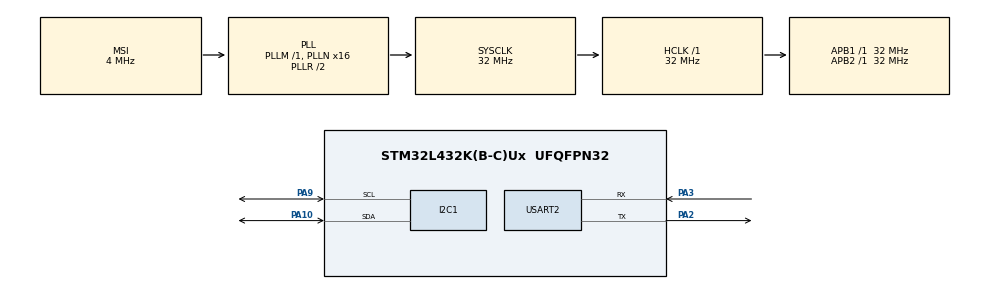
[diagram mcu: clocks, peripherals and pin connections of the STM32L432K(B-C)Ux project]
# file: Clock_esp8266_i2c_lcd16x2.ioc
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Dma.Request0=USART2_RX
Dma.USART2_RX.0.Direction=DMA_PERIPH_TO_MEMORY
Dma.USART2_RX.0.Instance=DMA1_Channel6
Dma.USART2_RX.0.MemDataAlignment=DMA_MDATAALIGN_BYTE
Dma.USART2_RX.0.MemInc=DMA_MINC_ENABLE
Dma.USART2_RX.0.Mode=DMA_NORMAL
Dma.USART2_RX.0.PeriphDataAlignment=DMA_PDATAALIGN_BYTE
Dma.USART2_RX.0.PeriphInc=DMA_PINC_DISABLE
Dma.USART2_RX.0.Priority=DMA_PRIORITY_LOW
Mcu.Family=STM32L4
Mcu.Name=STM32L432K(B-C)Ux
Mcu.Package=UFQFPN32
NVIC.DMA1_Channel6_IRQn=true\:0\:0\:false\:false\:true\:false
NVIC.PriorityGroup=NVIC_PRIORITYGROUP_4
PA10.Mode=I2C
PA10.Signal=I2C1_SDA
PA13\ (JTMS-SWDIO).Mode=Serial_Wire
PA13\ (JTMS-SWDIO).Signal=SYS_JTMS-SWDIO
PA14\ (JTCK-SWCLK).Mode=Serial_Wire
PA14\ (JTCK-SWCLK).Signal=SYS_JTCK-SWCLK
PA2.Mode=Asynchronous
PA2.Signal=USART2_TX
PA3.Mode=Asynchronous
PA3.Signal=USART2_RX
PA9.Mode=I2C
PA9.Signal=I2C1_SCL
ProjectManager.HeapSize=0x200
ProjectManager.StackSize=0x400
ProjectManager.TargetToolchain=SW4STM32
RCC.AHBFreq_Value=32000000
RCC.APB1Freq_Value=32000000
RCC.APB1TimFreq_Value=32000000
RCC.APB2Freq_Value=32000000
RCC.APB2TimFreq_Value=32000000
RCC.CortexFreq_Value=32000000
RCC.HCLKFreq_Value=32000000
RCC.HSE_VALUE=8000000
RCC.HSI16_VALUE=16000000
RCC.HSI48_VALUE=48000000
RCC.HSI_VALUE=16000000
RCC.LSE_VALUE=32.768
RCC.MSI_VALUE=4000000
RCC.PLLMUL=RCC_PLLMUL_4
RCC.PLLN=16
RCC.SYSCLKFreq_VALUE=32000000
RCC.SYSCLKSource=RCC_SYSCLKSOURCE_PLLCLK
RCC.VCOOutputFreq_Value=64000000
USART2.VirtualMode-Asynchronous=VM_ASYNC
VP_RTC_VS_RTC_Activate.Mode=RTC_Enabled
VP_RTC_VS_RTC_Calendar.Mode=RTC_Calendar
board=NUCLEO-L432KC

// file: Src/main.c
/**
  ******************************************************************************
  * @file           : main.c
  * @brief          : Main program body
  ******************************************************************************
  ** This notice applies to any and all portions of this file
  * that are not between comment pairs USER CODE BEGIN and
  * USER CODE END. Other portions of this file, whether
  * inserted by the user or by software development tools
  * are owned by their respective copyright owners.
  *
  * COPYRIGHT(c) 2020 STMicroelectronics
  *
  * Redistribution and use in source and binary forms, with or without modification,
  * are permitted provided that the following conditions are met:
  *   1. Redistributions of source code must retain the above copyright notice,
  *      this list of conditions and the following disclaimer.
  *   2. Redistributions in binary form must reproduce the above copyright notice,
  *      this list of conditions and the following disclaimer in the documentation
  *      and/or other materials provided with the distribution.
  *   3. Neither the name of STMicroelectronics nor the names of its contributors
  *      may be used to endorse or promote products derived from this software
  *      without specific prior written permission.
  *
  * THIS SOFTWARE IS PROVIDED BY THE COPYRIGHT HOLDERS AND CONTRIBUTORS "AS IS"
  * AND ANY EXPRESS OR IMPLIED WARRANTIES, INCLUDING, BUT NOT LIMITED TO, THE
  * IMPLIED WARRANTIES OF MERCHANTABILITY AND FITNESS FOR A PARTICULAR PURPOSE ARE
  * DISCLAIMED. IN NO EVENT SHALL THE COPYRIGHT HOLDER OR CONTRIBUTORS BE LIABLE
  * FOR ANY DIRECT, INDIRECT, INCIDENTAL, SPECIAL, EXEMPLARY, OR CONSEQUENTIAL
  * DAMAGES (INCLUDING, BUT NOT LIMITED TO, PROCUREMENT OF SUBSTITUTE GOODS OR
  * SERVICES; LOSS OF USE, DATA, OR PROFITS; OR BUSINESS INTERRUPTION) HOWEVER
  * CAUSED AND ON ANY THEORY OF LIABILITY, WHETHER IN CONTRACT, STRICT LIABILITY,
  * OR TORT (INCLUDING NEGLIGENCE OR OTHERWISE) ARISING IN ANY WAY OUT OF THE USE
  * OF THIS SOFTWARE, EVEN IF ADVISED OF THE POSSIBILITY OF SUCH DAMAGE.
  *
  ******************************************************************************
  */
#include "main.h"
#include "stm32l4xx_hal.h"

/* USER CODE BEGIN Includes */

#include "I2C_lcd16x2.h"
#include "ESP8266_usart_commands.h"
#include <string.h>
#include <math.h>
/* USER CODE END Includes */

I2C_HandleTypeDef hi2c1;

RTC_HandleTypeDef hrtc;

UART_HandleTypeDef huart2;
DMA_HandleTypeDef hdma_usart2_rx;

/* USER CODE BEGIN PV */
/* Private variables ---------------------------------------------------------*/

/* USER CODE END PV */

void SystemClock_Config(void);
static void MX_GPIO_Init(void);
static void MX_DMA_Init(void);
static void MX_I2C1_Init(void);
static void MX_RTC_Init();
static void MX_USART2_UART_Init(void);

/* USER CODE BEGIN PFP */
/* Private function prototypes -----------------------------------------------*/
uint32_t funcao_anos(uint32_t *delta, RTC_TimeTypeDef *horario1, RTC_DateTypeDef *data1);
uint32_t funcao_anos_aux1(RTC_TimeTypeDef *horario, RTC_DateTypeDef *data);
uint32_t funcao_segundos_desde_1jan_agora(RTC_TimeTypeDef *horario, RTC_DateTypeDef *data);
uint32_t funcao_segundos_desde_1jan_fixo(RTC_DateTypeDef *data);
uint32_t funcao_meses(uint32_t *delta, RTC_TimeTypeDef *horario1, RTC_DateTypeDef *data1);
uint32_t funcao_meses_aux(RTC_TimeTypeDef *horario, RTC_DateTypeDef *data);
uint32_t funcao_dias(uint32_t *delta, RTC_TimeTypeDef *horario1, RTC_DateTypeDef *data1);
uint32_t funcao_horas(uint32_t *delta, RTC_TimeTypeDef *horario1);
uint32_t funcao_minutos(uint32_t *delta, RTC_TimeTypeDef *horario1);
uint32_t funcao_segundos(uint32_t *delta, RTC_TimeTypeDef *horario1);

uint32_t diferenca_de_seculos(void);
uint32_t segundos_interno(RTC_TimeTypeDef *horario, RTC_DateTypeDef *data);
void luna_sync(uint32_t *segundos_brasil);
void clock_sync(uint8_t *resposta);

/* USER CODE END PFP */

/* USER CODE BEGIN 0 */

uint8_t  interrupcao=0, estados=0, flag0=0, flag1=0, flag2=0, flag3=0,
		flag4=0, flag5=0, flag6=0, flag7=0;

uint8_t resposta0[AT_RESPONSE_SIZE];
uint8_t resposta1[ATE_RESPONSE_SIZE];
uint8_t resposta2[ATCWMODE_CUR_RESPONSE_SIZE];
uint8_t resposta3[ATCWJAP_CUR_RESPONSE_SIZE];
uint8_t resposta31[ATCWJAP1_CUR_RESPONSE_SIZE];
uint8_t resposta4[ATCIPSTART_RESPONSE_SIZE];
uint8_t resposta5[ATCIPSEND_RESPONSE_SIZE];
uint8_t resposta6[NTPREQUEST_RESPONSE_SIZE];
uint8_t respostaclose[ATCIPCLOSE_RESPONSE_SIZE];

uint8_t horas, segundos, horario[8], data[8], semana[3], dia_da_semana, anos, meses, dia, fase_lua;
static uint8_t minutos;

uint32_t segundos_brasil, w=0, seculo=1, seculo2;
static uint32_t anos4digitos;

RTC_TimeTypeDef ghorario;
RTC_DateTypeDef gdata;

/* USER CODE END 0 */

int main(void)
{
  /* USER CODE BEGIN 1 */
	uint8_t flag_final1=0;
	uint32_t segundos_interno_aux;

  /* USER CODE END 1 */

  /* MCU Configuration----------------------------------------------------------*/

  /* Reset of all peripherals, Initializes the Flash interface and the Systick. */
  HAL_Init();

  /* Configure the system clock */
  SystemClock_Config();

  /* Initialize all configured peripherals */
  MX_GPIO_Init();
  MX_DMA_Init();
  MX_I2C1_Init();
  MX_USART2_UART_Init();

  /* USER CODE BEGIN 2 */
  LCD1602_i2c_Init();
  LCD1602_special_caracter_Init("ç", "ú", "á", "é", "í", "ã","õ","ô");
  LCD1602_print("Início");

  HAL_UART_MspInit(&huart2);

  HAL_UART_Receive_DMA(&huart2, resposta0, AT_RESPONSE_SIZE);

  /* USER CODE END 2 */

  /* Infinite loop */
  /* USER CODE BEGIN WHILE */

  /* O objetivo do código é sincronizar o relógio interno do microcontrolador (RTC-Real Time Clock) com o relogio da internet usando o protocolo
   * NTP-Network Time Protocol. Para isso utilizamos o microcontrolador stm32l432kc um modulo wi-fi esp8266 e uma tela de lcd16x2.
   * O codigo envia comandos AT via USART, para o esp8266, e aguarda uma resposta, se a resposta for a resposta esperada envia-se o próximo
   * comando. Dado um ultimo comando teremos uma ultima resposta dessa se extrai informações para o relógio.
   * Nunca deixe o relógio sem sincronizar por mais de um século pois as fases da lua estarão erradas*/

  while (1) // esse while representa um loop infinito
  {
	  if(interrupcao==0) //Quando não acontece uma interrupção ou se retorna de uma interrupção essa condição é acionada, entrar neste if representa o fluxo normal do código
	  {
		  if(estados==0) //Aqui se tem varias instruções if-else-if para enviar as instruçoes AT em ordem. A variavel estados é incrementada na interrupção.
		  {
			  LCD1602_clear();
			  LCD1602_print("Enviando 0");
			  if(flag0==0)
			  {
				  HAL_UART_Transmit(&huart2, AT, AT_COMMAND_SIZE, HAL_MAX_DELAY);
			  }
			  flag0=1;
			  HAL_Delay(1000);
			  if(strcmp(resposta0, ERRO_0)==0)/*Este if trata de um erro relacionado ao fato de que o comando ATE0 ja foi dado*/
			  {
				  HAL_UART_DMAStop(&huart2);

				  estados=2;//Pulamos para o estado 2
				  flag0=2;//Essa flag avisa que ocorreu um erro e prepara para a corrente de erros que esta por vir
				  HAL_Delay(1000);
				  interrupcao=0;
				  HAL_UART_Receive_DMA(&huart2, resposta2, ATCWMODE_CUR_RESPONSE_SIZE);
			  }
		  }
		  else if(estados==1)
		  {
			  LCD1602_clear();
			  LCD1602_print("Enviando 1");
			  if(flag1==0)
			  {
				  HAL_UART_Transmit(&huart2, ATE, ATE_COMMAND_SIZE, HAL_MAX_DELAY);
			  }
			  flag1=1;
			  HAL_Delay(1000);
		  }
		  else if(estados==2)
		  {
			  LCD1602_clear();
			  LCD1602_print("Enviando 2");
			  if(flag2==0)
			  {
				  HAL_UART_Transmit(&huart2, ATCWMODE_CUR, ATCWMODE_CUR_COMMAND_SIZE, HAL_MAX_DELAY);
			  }
			  flag2=1;
			  HAL_Delay(1000);
		  }
		  else if(estados==3)
		  {
			  LCD1602_clear();
			  LCD1602_print("Enviando 3");
			  if(flag3==0)
			  {
				  HAL_UART_Transmit(&huart2, ATCWJAP_CUR, ATCWJAP_CUR_COMMAND_SIZE, HAL_MAX_DELAY);
			  }
			  flag3=1;
			  HAL_Delay(1000);
		  }
		  else if(estados==4)
		  {
			  LCD1602_clear();
			  LCD1602_print("Enviando 4");
			  if(flag4==0)
			  {
				  HAL_UART_Transmit(&huart2, ATCIPSTART, ATCIPSTART_COMMAND_SIZE, HAL_MAX_DELAY);
			  }
			  flag4=1;
			  HAL_Delay(1000);
		  }
		  else if(estados==5)
		  {
			  LCD1602_clear();
			  LCD1602_print("Enviando 5");
			  if(flag5==0)
			  {
				  HAL_UART_Transmit(&huart2, ATCIPSEND, ATCIPSEND_COMMAND_SIZE, HAL_MAX_DELAY);
			  }
			  flag5=1;
			  HAL_Delay(1000);
		  }
		  else if(estados==6)
		  {
			  LCD1602_clear();
			  LCD1602_print("Enviando 6");
			  if(flag6==0)
			  {
				  HAL_UART_Transmit(&huart2, NTPREQUEST, NTPREQUEST_COMMAND_SIZE, HAL_MAX_DELAY);
			  }
			  flag6=1;
			  HAL_Delay(1000);
			  if(strcmp(resposta6,ERRO_6)==0) /*Dentro deste if tratamos um erro. O erro acontece quando o servidor
			  	  	  	  	  	  	  	  	   	não responde ao comando NTPREQUEST. Ao receber a resposta incompleta
			  	  	  	  	  	  	  	  	   	não é gerada uma interrupção*/
			  {
				  HAL_UART_DMAStop(&huart2); //Pausamos o DMA sem gerar uma interrupção

				  HAL_UART_Receive_DMA(&huart2, respostaclose, ATCIPCLOSE_RESPONSE_SIZE);//Nos preparamos para a resposta do encerramento da conexão

				  for(uint i=0;i<NTPREQUEST_RESPONSE_SIZE;i++)//Limpamos a resposta incompleta recebida
				  {
					  resposta6[i]=0;
				  }
				  HAL_UART_Transmit(&huart2, ATCIPCLOSE, ATCIPCLOSE_COMMAND_SIZE, HAL_MAX_DELAY); //Encerramos a conexão com o servidor
				  estados=4;//voltamos ao estado 4
				  flag4=0;
				  flag5=0;
				  flag6=0;
				  HAL_Delay(1000);
				  interrupcao=0;
				  HAL_UART_Receive_DMA(&huart2, resposta4, ATCIPSTART_RESPONSE_SIZE);
			  }
		  }
		  else if(estados==7)
		  {
			  LCD1602_clear();
			  LCD1602_print("Concluído");

			  if(flag7==0)
			  {
				  HAL_UART_Transmit(&huart2, ATCIPCLOSE, ATCIPCLOSE_COMMAND_SIZE, HAL_MAX_DELAY);
			  }
			  flag7=1;
			  HAL_Delay(1000);
			  interrupcao=2; //Esta condição passa para a proxima parte do programa e encerra a conexao e recebimento de dados
		  }
		  else //Se o programa tentar executar um estado invalido este erro será tratado aqui
		  {
		  	  LCD1602_clear();
		  	  LCD1602_print("Erro de estado");
		  	  HAL_Delay(1000);
		  }

	  }
	  else if (interrupcao==1) //Quando uma interrupção acontece, ou seja os dados estão disponíveis, a placa esp8266 respondeu, esta condição é executada para tratar os dados recebidos
	  {
		  if(estados==0) //Temos varios if-else-if para verificar qual comnando foi dado
		  {
			  if(strcmp(AT_RESPONSE, resposta0)==0) //essa condição verifica se a resposta dada está correta
			  {
				  estados++; // Se a ressposta está correta passa-se para o proximo comando
			  }
			  else //Se a resposta dada não estiver correta o erro será tratado aqui
			  {
				  LCD1602_clear();
				  LCD1602_print("Resposta não");
				  LCD1602_setCursor(2,1);
				  LCD1602_print("esperada 0");
				  while(1)
				  {

				  }
			  }
			  LCD1602_clear();
			  LCD1602_print("Recebimento");
			  LCD1602_setCursor(2,1);
			  LCD1602_print("completo 0");
			  HAL_Delay(1000);
			  interrupcao=0; //Retorna-se da interrupção
			  HAL_UART_Receive_DMA(&huart2, resposta1, ATE_RESPONSE_SIZE); //Prepara-se a usart para a recepção do próximo comando
		  }
		  else if(estados==1)
		  {
			  if(strcmp(ATE_RESPONSE, resposta1)==0)
			  {
				  estados++;
			  }
			  else
			  {
				  LCD1602_clear();
				  LCD1602_print("Resposta não");
				  LCD1602_setCursor(2,1);
				  LCD1602_print("esperada 1");
				  while(1)
				  {

				  }
			  }
			  LCD1602_clear();
			  LCD1602_print("Recebimento");
			  LCD1602_setCursor(2,1);
			  LCD1602_print("completo 1");
			  HAL_Delay(1000);
			  interrupcao=0;
			  HAL_UART_Receive_DMA(&huart2, resposta2, ATCWMODE_CUR_RESPONSE_SIZE);
		  }
		  else if(estados==2)
		  {
			  if(strcmp(ATCWMODE_CUR_RESPONSE, resposta2)==0)
			  {
				  estados++;
			  }
			  else
			  {
				  LCD1602_clear();
				  LCD1602_print("Resposta não");
				  LCD1602_setCursor(2,1);
				  LCD1602_print("esperada 2");
				  while(1)
				  {

				  }
			  }
			  LCD1602_clear();
			  LCD1602_print("Recebimento");
			  LCD1602_setCursor(2,1);
			  LCD1602_print("completo 2");
			  HAL_Delay(1000);
			  interrupcao=0;
			  if(flag0==2)
			  {
				  HAL_UART_Receive_DMA(&huart2, resposta31, ATCWJAP1_CUR_RESPONSE_SIZE);
			  }
			  else
			  {
				  HAL_UART_Receive_DMA(&huart2, resposta3, ATCWJAP_CUR_RESPONSE_SIZE);
			  }
		  }
		  else if(estados==3)
		  {
			  if(strcmp(ATCWJAP_CUR_RESPONSE, resposta3)==0 || strncmp(ATCWJAP1_CUR_RESPONSE, resposta31, ATCWJAP1_CUR_RESPONSE_SIZE)==0) //Erro strcmp(ATCWJAP1_CUR_RESPONSE, resposta31)!=0 deveria ser strcmp(ATCWJAP1_CUR_RESPONSE, resposta31)==0 substitui-se pela instrução strncmp(ATCWJAP1_CUR_RESPONSE, resposta31, ATCWJAP1_CUR_RESPONSE_SIZE)==0 pois a outra instrução nao localiza o caractere NULL \0
			  {
				  estados++;
			  }
			  else
			  {
				  LCD1602_clear();
				  LCD1602_print("Resposta não");
				  LCD1602_setCursor(2,1);
				  LCD1602_print("esperada 3");
				  while(1)
				  {

				  }
			  }
			  LCD1602_clear();
			  LCD1602_print("Recebimento");
			  LCD1602_setCursor(2,1);
			  LCD1602_print("completo 3");
			  HAL_Delay(1000);
			  interrupcao=0;
			  HAL_UART_Receive_DMA(&huart2, resposta4, ATCIPSTART_RESPONSE_SIZE);
		  }
		  else if(estados==4)
		  {
			  if(strcmp(ATCIPSTART_RESPONSE, resposta4)==0)
			  {
				  estados++;
			  }
			  else
			  {
				  LCD1602_clear();
				  LCD1602_print("Resposta não");
				  LCD1602_setCursor(2,1);
				  LCD1602_print("esperada 4");
				  while(1)
				  {

				  }
			  }
			  LCD1602_clear();
			  LCD1602_print("Recebimento");
			  LCD1602_setCursor(2,1);
			  LCD1602_print("completo 4");
			  HAL_Delay(1000);
			  interrupcao=0;
			  HAL_UART_Receive_DMA(&huart2, resposta5, ATCIPSEND_RESPONSE_SIZE);
		  }
		  else if(estados==5)
		  {
			  if(strncmp(ATCIPSEND_RESPONSE, resposta5,ATCIPSEND_RESPONSE_SIZE)==0) //Erro strcmp(ATCIPSEND_RESPONSE, resposta5)!=0 deveria ser strcmp(ATCIPSEND_RESPONSE, resposta5)==0 Substitui-se pela instrução strncmp(ATCIPSEND_RESPONSE, resposta5,ATCIPSEND_RESPONSE_SIZE) pois a outra instrução não localiza ocaractere NULL \0 no final das strings
			  {
				  estados++;
			  }
			  else
			  {
				  LCD1602_clear();
				  LCD1602_print("Resposta não");
				  LCD1602_setCursor(2,1);
				  LCD1602_print("esperada 5");
				  while(1)
				  {

				  }
			  }
			  LCD1602_clear();
			  LCD1602_print("Recebimento");
			  LCD1602_setCursor(2,1);
			  LCD1602_print("completo 5");
			  HAL_Delay(1000);
			  interrupcao=0;
			  HAL_UART_Receive_DMA(&huart2, resposta6, NTPREQUEST_RESPONSE_SIZE);
		  }
		  else if(estados==6)//O ultimo dado recebido contém as informações para o relógio e aquele será tratado aqui
		  {
			  clock_sync(resposta6);
			  interrupcao=0;
			  estados++;
			  HAL_UART_Receive_DMA(&huart2, respostaclose, ATCIPCLOSE_RESPONSE_SIZE);
		  }
	  }
	  else if(interrupcao==2)/*Essa secção do programa encerra o programa*/
	  {
		  while(w<=anos4digitos)
		  {
			  w=w+100;
			  seculo++;
		  }
		  seculo=seculo-1;
		  seculo2=seculo;
		  MX_RTC_Init();
		  interrupcao=3;
	  }
	  else if(interrupcao==3)
	  {
		  HAL_RTC_GetTime(&hrtc, &ghorario, RTC_FORMAT_BIN);
		  HAL_RTC_GetDate(&hrtc, &gdata, RTC_FORMAT_BIN);/* Os comandos HAL_RTC_GetTime e HAL_RTC_GetDate tem que serem dados nessa sequencia mesmo que só desejarmos as horas*/

		  sprintf(horario,"%02d:%02d:%02d",ghorario.Hours, ghorario.Minutes, ghorario.Seconds);
		  sprintf(data,"%02d/%02d/%02d", gdata.Date, gdata.Month, gdata.Year);
		  if(gdata.WeekDay==RTC_WEEKDAY_MONDAY)
		  {
			  sprintf(semana, "Seg");
		  }
		  else if(gdata.WeekDay==RTC_WEEKDAY_TUESDAY)
		  {
			  sprintf(semana, "Ter");
		  }
		  else if(gdata.WeekDay==RTC_WEEKDAY_WEDNESDAY)
		  {
			  sprintf(semana, "Qua");
		  }
		  else if(gdata.WeekDay==RTC_WEEKDAY_THURSDAY)
		  {
			  sprintf(semana, "Qui");
		  }
		  else if(gdata.WeekDay==RTC_WEEKDAY_FRIDAY)
		  {
			  sprintf(semana, "Sex");
		  }
		  else if(gdata.WeekDay==RTC_WEEKDAY_SATURDAY)
		  {
			  sprintf(semana, "Sáb");
		  }
		  else if(gdata.WeekDay==RTC_WEEKDAY_SUNDAY)
		  {
			  sprintf(semana, "Dom");
		  }
		  else
		  {
			  sprintf(semana, "Err");
		  }

		  /*Para sincronizar as fases da lua com o RTC*/
		  if(ghorario.Seconds>=0 && ghorario.Seconds<1)
		  {
			  seculo2=seculo+diferenca_de_seculos();
			  segundos_interno_aux=segundos_interno(&ghorario, &gdata);
			  luna_sync(&segundos_interno_aux);
		  }

		  if(flag_final1==0)
		  {
			  LCD1602_clear();
			  LCD1602_special_caracter_Init("L1", "L2", "L3", "L4", "á", "é", "í", "ó");
			  LCD1602_noCursor();
			  flag_final1=1;
		  }
		  LCD1602_print(horario);
		  LCD1602_setCursor(2,1);
		  LCD1602_print(data);
		  LCD1602_setCursor(2,10);
		  LCD1602_print(semana);
		  if(fase_lua==1)
		  {
			  LCD1602_setCursor(2,15);
			  LCD1602_print("L1");
			  LCD1602_setCursor(2,16);
			  LCD1602_print("L2");
		  }
		  else if(fase_lua==2)
		  {
			  LCD1602_setCursor(2,15);
			  LCD1602_print("L4");
			  LCD1602_setCursor(2,16);
			  LCD1602_print("L2");
		  }
		  else if(fase_lua==3)
		  {
			  LCD1602_setCursor(2,15);
			  LCD1602_print("L4");
			  LCD1602_setCursor(2,16);
			  LCD1602_print("L3");
		  }
		  else if(fase_lua==4)
		  {
			  LCD1602_setCursor(2,15);
			  LCD1602_print("L1");
			  LCD1602_setCursor(2,16);
			  LCD1602_print("L3");
		  }

		  LCD1602_setCursor(1,1); /*Ao invés de dar clear e escrever novamente, o que faria a tela piscar, apenas escrevemos por cima, por isso voltamos o cursor para a posição 1,1*/
	  }
	  else
	  {
		  LCD1602_clear();
		  LCD1602_print("Erro inesperado");
		  HAL_Delay(1000);
	  }

  /* USER CODE END WHILE */

  }

}

void SystemClock_Config(void)
{

  RCC_OscInitTypeDef RCC_OscInitStruct;
  RCC_ClkInitTypeDef RCC_ClkInitStruct;
  RCC_PeriphCLKInitTypeDef PeriphClkInit;

    /**Initializes the CPU, AHB and APB busses clocks
    */
  RCC_OscInitStruct.OscillatorType = RCC_OSCILLATORTYPE_LSI|RCC_OSCILLATORTYPE_MSI;
  RCC_OscInitStruct.LSIState = RCC_LSI_ON;
  RCC_OscInitStruct.MSIState = RCC_MSI_ON;
  RCC_OscInitStruct.MSICalibrationValue = 0;
  RCC_OscInitStruct.MSIClockRange = RCC_MSIRANGE_6;
  RCC_OscInitStruct.PLL.PLLState = RCC_PLL_ON;
  RCC_OscInitStruct.PLL.PLLSource = RCC_PLLSOURCE_MSI;
  RCC_OscInitStruct.PLL.PLLM = 1;
  RCC_OscInitStruct.PLL.PLLN = 16;
  RCC_OscInitStruct.PLL.PLLP = RCC_PLLP_DIV7;
  RCC_OscInitStruct.PLL.PLLQ = RCC_PLLQ_DIV2;
  RCC_OscInitStruct.PLL.PLLR = RCC_PLLR_DIV2;
  if (HAL_RCC_OscConfig(&RCC_OscInitStruct) != HAL_OK)
  {
    _Error_Handler(__FILE__, __LINE__);
  }

    /**Initializes the CPU, AHB and APB busses clocks
    */
  RCC_ClkInitStruct.ClockType = RCC_CLOCKTYPE_HCLK|RCC_CLOCKTYPE_SYSCLK
                              |RCC_CLOCKTYPE_PCLK1|RCC_CLOCKTYPE_PCLK2;
  RCC_ClkInitStruct.SYSCLKSource = RCC_SYSCLKSOURCE_PLLCLK;
  RCC_ClkInitStruct.AHBCLKDivider = RCC_SYSCLK_DIV1;
  RCC_ClkInitStruct.APB1CLKDivider = RCC_HCLK_DIV1;
  RCC_ClkInitStruct.APB2CLKDivider = RCC_HCLK_DIV1;

  if (HAL_RCC_ClockConfig(&RCC_ClkInitStruct, FLASH_LATENCY_1) != HAL_OK)
  {
    _Error_Handler(__FILE__, __LINE__);
  }

  PeriphClkInit.PeriphClockSelection = RCC_PERIPHCLK_RTC|RCC_PERIPHCLK_USART2
                              |RCC_PERIPHCLK_I2C1;
  PeriphClkInit.Usart2ClockSelection = RCC_USART2CLKSOURCE_PCLK1;
  PeriphClkInit.I2c1ClockSelection = RCC_I2C1CLKSOURCE_PCLK1;
  PeriphClkInit.RTCClockSelection = RCC_RTCCLKSOURCE_LSI;
  if (HAL_RCCEx_PeriphCLKConfig(&PeriphClkInit) != HAL_OK)
  {
    _Error_Handler(__FILE__, __LINE__);
  }

    /**Configure the main internal regulator output voltage
    */
  if (HAL_PWREx_ControlVoltageScaling(PWR_REGULATOR_VOLTAGE_SCALE1) != HAL_OK)
  {
    _Error_Handler(__FILE__, __LINE__);
  }

    /**Configure the Systick interrupt time
    */
  HAL_SYSTICK_Config(HAL_RCC_GetHCLKFreq()/1000);

    /**Configure the Systick
    */
  HAL_SYSTICK_CLKSourceConfig(SYSTICK_CLKSOURCE_HCLK);

  /* SysTick_IRQn interrupt configuration */
  HAL_NVIC_SetPriority(SysTick_IRQn, 0, 0);
}

/* I2C1 init function */
static void MX_I2C1_Init(void)
{

  hi2c1.Instance = I2C1;
  hi2c1.Init.Timing = 0x20D22930;//0x00707CBB; //0x00000E14;
  hi2c1.Init.OwnAddress1 = 0;
  hi2c1.Init.AddressingMode = I2C_ADDRESSINGMODE_7BIT;
  hi2c1.Init.DualAddressMode = I2C_DUALADDRESS_DISABLE;
  hi2c1.Init.OwnAddress2 = 0;
  hi2c1.Init.OwnAddress2Masks = I2C_OA2_NOMASK;
  hi2c1.Init.GeneralCallMode = I2C_GENERALCALL_DISABLE;
  hi2c1.Init.NoStretchMode = I2C_NOSTRETCH_DISABLE;
  if (HAL_I2C_Init(&hi2c1) != HAL_OK)
  {
    _Error_Handler(__FILE__, __LINE__);
  }

    /**Configure Analogue filter
    */
  if (HAL_I2CEx_ConfigAnalogFilter(&hi2c1, I2C_ANALOGFILTER_ENABLE) != HAL_OK)
  {
    _Error_Handler(__FILE__, __LINE__);
  }

    /**Configure Digital filter
    */
  if (HAL_I2CEx_ConfigDigitalFilter(&hi2c1, 0) != HAL_OK)
  {
    _Error_Handler(__FILE__, __LINE__);
  }

}

/* RTC init function */
static void MX_RTC_Init()
{

  RTC_TimeTypeDef sTime;
  RTC_DateTypeDef sDate;

    /**Initialize RTC Only
    */
  hrtc.Instance = RTC;
  hrtc.Init.HourFormat = RTC_HOURFORMAT_24;
  hrtc.Init.AsynchPrediv = 127;
  hrtc.Init.SynchPrediv = 255;
  hrtc.Init.OutPut = RTC_OUTPUT_DISABLE;
  hrtc.Init.OutPutRemap = RTC_OUTPUT_REMAP_NONE;
  hrtc.Init.OutPutPolarity = RTC_OUTPUT_POLARITY_HIGH;
  hrtc.Init.OutPutType = RTC_OUTPUT_TYPE_OPENDRAIN;
  if (HAL_RTC_Init(&hrtc) != HAL_OK)
  {
    _Error_Handler(__FILE__, __LINE__);
  }

    /**Initialize RTC and set the Time and Date
    */
  sTime.Hours = horas;
  sTime.Minutes = minutos;
  sTime.Seconds = segundos;
  sTime.DayLightSaving = RTC_DAYLIGHTSAVING_NONE;
  sTime.StoreOperation = RTC_STOREOPERATION_RESET;
  if (HAL_RTC_SetTime(&hrtc, &sTime, RTC_FORMAT_BIN) != HAL_OK)
  {
    _Error_Handler(__FILE__, __LINE__);
  }

  sDate.WeekDay = dia_da_semana;
  sDate.Month = meses;
  sDate.Date = dia;
  sDate.Year = anos;

  if (HAL_RTC_SetDate(&hrtc, &sDate, RTC_FORMAT_BIN) != HAL_OK)
  {
    _Error_Handler(__FILE__, __LINE__);
  }

}

/* USART2 init function */
static void MX_USART2_UART_Init(void)
{

  huart2.Instance = USART2;
  huart2.Init.BaudRate = 115200;
  huart2.Init.WordLength = UART_WORDLENGTH_8B;
  huart2.Init.StopBits = UART_STOPBITS_1;
  huart2.Init.Parity = UART_PARITY_NONE;
  huart2.Init.Mode = UART_MODE_TX_RX;
  huart2.Init.HwFlowCtl = UART_HWCONTROL_NONE;
  huart2.Init.OverSampling = UART_OVERSAMPLING_16;
  huart2.Init.OneBitSampling = UART_ONE_BIT_SAMPLE_DISABLE;
  huart2.AdvancedInit.AdvFeatureInit = UART_ADVFEATURE_NO_INIT;
  if (HAL_UART_Init(&huart2) != HAL_OK)
  {
    _Error_Handler(__FILE__, __LINE__);
  }

}

static void MX_DMA_Init(void)
{
  /* DMA controller clock enable */
  __HAL_RCC_DMA1_CLK_ENABLE();

  /* DMA interrupt init */
  /* DMA1_Channel6_IRQn interrupt configuration */
  HAL_NVIC_SetPriority(DMA1_Channel6_IRQn, 0, 0);
  HAL_NVIC_EnableIRQ(DMA1_Channel6_IRQn);

}

/** Configure pins as
        * Analog
        * Input
        * Output
        * EVENT_OUT
        * EXTI
        * Free pins are configured automatically as Analog (this feature is enabled through
        * the Code Generation settings)
*/
static void MX_GPIO_Init(void)
{

  GPIO_InitTypeDef GPIO_InitStruct;

  /* GPIO Ports Clock Enable */
  __HAL_RCC_GPIOC_CLK_ENABLE();
  __HAL_RCC_GPIOA_CLK_ENABLE();
  __HAL_RCC_GPIOB_CLK_ENABLE();
  __HAL_RCC_GPIOH_CLK_ENABLE();

  /*Configure GPIO pins : PC14 PC15 */
  GPIO_InitStruct.Pin = GPIO_PIN_14|GPIO_PIN_15;
  GPIO_InitStruct.Mode = GPIO_MODE_ANALOG;
  GPIO_InitStruct.Pull = GPIO_NOPULL;
  HAL_GPIO_Init(GPIOC, &GPIO_InitStruct);

  /*Configure GPIO pins : PA0 PA1 PA4 PA5
                           PA6 PA7 PA8 PA11
                           PA12 PA15 */
  GPIO_InitStruct.Pin = GPIO_PIN_0|GPIO_PIN_1|GPIO_PIN_4|GPIO_PIN_5
                          |GPIO_PIN_6|GPIO_PIN_7|GPIO_PIN_8|GPIO_PIN_11
                          |GPIO_PIN_12|GPIO_PIN_15;
  GPIO_InitStruct.Mode = GPIO_MODE_ANALOG;
  GPIO_InitStruct.Pull = GPIO_NOPULL;
  HAL_GPIO_Init(GPIOA, &GPIO_InitStruct);

  /*Configure GPIO pins : PB0 PB1 PB3 PB4
                           PB5 PB6 PB7 */
  GPIO_InitStruct.Pin = GPIO_PIN_0|GPIO_PIN_1|GPIO_PIN_3|GPIO_PIN_4
                          |GPIO_PIN_5|GPIO_PIN_6|GPIO_PIN_7;
  GPIO_InitStruct.Mode = GPIO_MODE_ANALOG;
  GPIO_InitStruct.Pull = GPIO_NOPULL;
  HAL_GPIO_Init(GPIOB, &GPIO_InitStruct);

  /*Configure GPIO pin : PH3 */
  GPIO_InitStruct.Pin = GPIO_PIN_3;
  GPIO_InitStruct.Mode = GPIO_MODE_ANALOG;
  GPIO_InitStruct.Pull = GPIO_NOPULL;
  HAL_GPIO_Init(GPIOH, &GPIO_InitStruct);

}

/* USER CODE BEGIN 4 */

uint32_t diferenca_de_seculos(void)
{
	uint32_t retorno;

	if(gdata.Year<anos && gdata.Year>=1)
		retorno=1;
	else
		retorno=0;

	return retorno;
}

uint32_t segundos_interno(RTC_TimeTypeDef *horario, RTC_DateTypeDef *data)
{
	uint32_t delta=0;

	delta=funcao_anos(&delta, horario, data);

	return segundos_brasil+delta;
}

uint32_t funcao_anos(uint32_t *delta, RTC_TimeTypeDef *horario1, RTC_DateTypeDef *data1)
{
	if(data1->Year*100*(seculo2-1)-anos4digitos==0)
	{
		*delta=funcao_meses(delta, horario1, data1);
	}
	else
	{
		*delta=funcao_anos_aux1(horario1 ,data1)+funcao_meses(delta, horario1, data1);
	}

	return *delta;
}

uint32_t funcao_anos_aux1(RTC_TimeTypeDef *horario, RTC_DateTypeDef *data)
{
	uint32_t segundos1=0;

	if(data->Month>=1 && funcao_segundos_desde_1jan_agora(horario, data)<funcao_segundos_desde_1jan_fixo(data)/*data->Month<meses*/)
	{
		for(uint32_t i=anos4digitos;i<data->Year+100*(seculo2-1)-1;i++)
		{
			if( ( ( i % 4 == 0 && i % 100 != 0 ) || i % 400 == 0 ))
				segundos1=segundos1+31622400;
			else
				segundos1=segundos1+31536000;
		}
	}
	else
	{
		for(uint32_t i=anos4digitos;i<data->Year+100*(seculo2-1);i++)
		{
			if( ( ( i % 4 == 0 && i % 100 != 0 ) || i % 400 == 0 ))
				segundos1=segundos1+31622400;
			else
				segundos1=segundos1+31536000;
		}
	}

	return segundos1;
}

uint32_t funcao_segundos_desde_1jan_agora(RTC_TimeTypeDef *horario, RTC_DateTypeDef *data)
{
	uint32_t segundos1=0;

	for(uint8_t i=1;i<data->Month;i++)
	{
		if(i==2)
		{
			if( ( ( (data->Year*100*(seculo2-1)) % 4 == 0 && (data->Year*100*(seculo2-1)) % 100 != 0 ) || (data->Year*100*(seculo2-1)) % 400 == 0 ))
				segundos1=segundos1+2505600;
			else
				segundos1=segundos1+2419200;
		}
		else
		{
			if(((i%2==0 && i<=6)||(i%2!=0 && i>=9)))
				segundos1=segundos1+2592000;
			else if(((i%2!=0 && i<=7)||(i%2==0 && i>=8)))
				segundos1=segundos1+2678400;
		}
	}
	segundos1=segundos1+(data->Date-1)*86400+horario->Hours*3600+horario->Minutes*60+horario->Seconds;

	return segundos1;
}

uint32_t funcao_segundos_desde_1jan_fixo(RTC_DateTypeDef *data)
{
	uint32_t segundos1=0;

	for(uint8_t i=1;i<meses;i++)
	{
		if(i==2)
		{
			if( ( (( data->Year*100*(seculo2-1)) % 4 == 0 && (data->Year*100*(seculo2-1)) % 100 != 0 ) || (data->Year*100*(seculo2-1)) % 400 == 0 ))
				segundos1=segundos1+2505600;
			else
				segundos1=segundos1+2419200;
		}
		else
		{
			if(((i%2==0 && i<=6)||(i%2!=0 && i>=9)))
				segundos1=segundos1+2592000;
			else if(((i%2!=0 && i<=7)||(i%2==0 && i>=8)))
				segundos1=segundos1+2678400;
		}
	}

	segundos1=segundos1+(dia-1)*86400+horas*3600+minutos*60+segundos;
	return segundos1;
}

uint32_t funcao_meses(uint32_t *delta, RTC_TimeTypeDef *horario1, RTC_DateTypeDef *data1)
{
	if(data1->Month-meses==0)
		*delta=funcao_dias(delta, horario1, data1);
	else
		*delta=funcao_meses_aux(horario1, data1)+funcao_dias(delta, horario1, data1);

	return *delta;
}

uint32_t funcao_meses_aux(RTC_TimeTypeDef *horario, RTC_DateTypeDef *data)
{
	uint32_t segundos1=0;

	if(data->Date>=1 && (data->Date-1)*86400+horario->Hours*3600+horario->Minutes*60+horario->Seconds<dia*86400+horas*3600+minutos*60+segundos)
	{
		for(uint8_t i=meses;i!=data->Month-1;i++)
		{
			if(i==13)
				i=1;
			if(i==2)
			{
				if( ( ( anos4digitos % 4 == 0 && anos4digitos % 100 != 0 ) || anos4digitos % 400 == 0 ))
					segundos1=segundos1+2505600;
				else
					segundos1=segundos1+2419200;
			}
			else
			{
				if(((i%2==0 && i<=6)||(i%2!=0 && i>=9)))
					segundos1=segundos1+2592000;
				else if(((i%2!=0 && i<=7)||(i%2==0 && i>=8)))
					segundos1=segundos1+2678400;
			}
		}
	}
	else
	{
		for(uint8_t i=meses;i!=data->Month;i++)
		{
			if(i==13)
				i=1;
			if(i==2)
			{
				if( ( ( anos4digitos % 4 == 0 && anos4digitos % 100 != 0 ) || anos4digitos % 400 == 0 ))
					segundos1=segundos1+2505600;
				else
					segundos1=segundos1+2419200;
			}
			else
			{
				if(((i%2==0 && i<=6)||(i%2!=0 && i>=9)))
					segundos1=segundos1+2592000;
				else if(((i%2!=0 && i<=7)||(i%2==0 && i>=8)))
					segundos1=segundos1+2678400;
			}
		}
	}

	return segundos1;
}

uint32_t funcao_dias(uint32_t *delta, RTC_TimeTypeDef *horario1, RTC_DateTypeDef *data1)
{
	if(data1->Date-dia==0)
	{
		*delta=funcao_horas(delta, horario1);
	}
	else if(data1->Date-dia>0)
	{
		*delta=86400*(data1->Date-dia-1)+funcao_horas(delta, horario1);
	}
	else if(data1->Date-dia<0)
	{
		if(meses==2)
		{
			if( ( ( anos4digitos % 4 == 0 && anos4digitos % 100 != 0 ) || anos4digitos % 400 == 0 ))
				*delta=86400*(data1->Date+29-dia-1)+funcao_horas(delta, horario1);
			else
				*delta=86400*(data1->Date+28-dia-1)+funcao_horas(delta, horario1);
		}
		else
		{
			if(((meses%2==0 && meses<=6)||(meses%2!=0 && meses>=9)))
				*delta=86400*(data1->Date+30-dia-1)+funcao_horas(delta, horario1);
			else if(((meses%2!=0 && meses<=7)||(meses%2==0 && meses>=8)))
				*delta=86400*(data1->Date+31-dia-1)+funcao_horas(delta, horario1);
		}
	}

	return *delta;
}

uint32_t funcao_horas(uint32_t *delta, RTC_TimeTypeDef *horario1)
{
	if(horario1->Hours-horas==0)
	{
		*delta=funcao_minutos(delta, horario1);
	}
	else if(horario1->Hours-horas>0)
	{
		*delta=3600*(horario1->Hours-horas-1)+funcao_minutos(delta, horario1);
	}
	else if(horario1->Hours-horas<0)
	{
		*delta=3600*((horario1->Hours+24)-horas-1)+funcao_minutos(delta, horario1);
	}

	return *delta;
}

uint32_t funcao_minutos(uint32_t *delta, RTC_TimeTypeDef *horario1)
{
	if(horario1->Minutes-minutos==0)
	{
		*delta=funcao_segundos(delta, horario1);
	}
	else if(horario1->Minutes-minutos>0)
	{
		*delta=60*(horario1->Minutes-minutos-1)+funcao_segundos(delta, horario1);
	}
	else if(horario1->Minutes-minutos<0)
	{
		*delta=60*((horario1->Minutes+60)-minutos-1)+funcao_segundos(delta, horario1);
	}

	return *delta;
}

uint32_t funcao_segundos(uint32_t *delta, RTC_TimeTypeDef *horario1)
{
	if(horario1->Seconds-segundos==0)
	{
		*delta=0;
	}
	else if(horario1->Seconds-segundos>0)
	{
		*delta=horario1->Seconds-segundos;
	}
	else if(horario1->Seconds-segundos<0)
	{
		*delta=(horario1->Seconds+60)-segundos;
	}

	return *delta;
}

void luna_sync(uint32_t *segundos_brasil)
{
	/*O cálculo das fases da lua está baseado no trabalho "As Variações dos Intervalos de Tempo entre as Fases Principais da Lua" de Fernando Lang da Silveira.
	 * Em 1970 o ano lunar é 582 (lunação) e o ano lunar começa em 7/1/1970 às 18:00 com a lua nova*/

	double tnova, tquarto_crescente, tcheia, tquarto_minguante, ttotal, segundos_da_lua=669785.76, pi=3.141592654, tnovaproxima;
	uint32_t ano_lunar=582;

	while(segundos_da_lua<=*segundos_brasil)
	{
		segundos_da_lua=segundos_da_lua+(0.0866*cos((2*pi/12.3689)*(ano_lunar-953)+0.298)+0.1817*cos((2*pi/13.9444)*(ano_lunar-953)+0.602)+29.5306)*24*60*60;
		ano_lunar++;
	}
	if(segundos_da_lua==*segundos_brasil)
	{

	}
	else
		ano_lunar=ano_lunar-1;
	tnova=10957*24*60*60+(0.1723*cos((2*pi/12.3689)*(ano_lunar-953)-1.526)+0.4067*cos((2*pi/13.94436)*(ano_lunar-953)+5.089)+29.5305888*(ano_lunar-953)+5.4716)*24*60*60;
	tquarto_crescente=10957*24*60*60+(0.1723*cos((2*pi/12.3689)*(ano_lunar-953)-1.401)+0.6280*cos(2*pi/13.94436*(ano_lunar-953)+0.488)+29.5305888*(ano_lunar-953)+12.8571)*24*60*60;
	tcheia=10957*24*60*60+(0.1723*cos((2*pi/12.3689)*(ano_lunar-953)-1.272)+0.4067*cos((2*pi/13.94436)*(ano_lunar-953)+2.172)+29.5305888*(ano_lunar-953)+20.2366)*24*60*60;
	tquarto_minguante=10957*24*60*60+(0.1723*cos((2*pi/12.3689)*(ano_lunar-953)-1.143)+0.6280*cos((2*pi/13.94436)*(ano_lunar-953)+3.856)+29.5305888*(ano_lunar-953)+27.6163)*24*60*60;
	//ttotal=(0.0866*cos((2*pi/12.3689)*(ano_lunar-953)+0.298)+0.1817*cos((2*pi/13.9444)*(ano_lunar-953)+0.602)+29.5306)*24*60*60;
	tnovaproxima=10957*24*60*60+(0.1723*cos((2*pi/12.3689)*(ano_lunar+1-953)-1.526)+0.4067*cos((2*pi/13.94436)*(ano_lunar+1-953)+5.089)+29.5305888*(ano_lunar+1-953)+5.4716)*24*60*60;

	if(*segundos_brasil>=tnova && *segundos_brasil<tquarto_crescente)
		fase_lua=1;
	else if(*segundos_brasil>=tquarto_crescente && *segundos_brasil<tcheia)
		fase_lua=2;
	else if(*segundos_brasil>=tcheia && *segundos_brasil<tquarto_minguante)
		fase_lua=3;
	else if(*segundos_brasil>=tquarto_minguante && *segundos_brasil<tnovaproxima)
		fase_lua=4;
}

/*Esta função trata os dados da ultima resposta recebida convertendo-as para o formato de horas-minutos-segundos*/
void clock_sync(uint8_t *resposta)
{
	double x, y, z, k;
	uint32_t segundos_total=0, segundos_unix, xa, ya, za, ka, ano_count=1970, segundos_dos_anos=0,
			segundos_dos_meses=0, meses_count=1, segundos_dos_dias=0, dia_count=1, ano_count_aux=70;

	/*Extrai-se a quantidade de segundos desde 1/1/1900 às 00:00:00 h
	 * Converte-se para a quantidade de segundos desde 1/1/1970 às 00:00:00 h
	 * Atrasa-se 3 horas para o fuso horario do Brasil*/
	segundos_total=(segundos_total | resposta[78])<<8;
	segundos_total=(segundos_total | resposta[79])<<8;
	segundos_total=(segundos_total | resposta[80])<<8;
	segundos_total=segundos_total | resposta[81];

	segundos_unix=segundos_total-seventyYears;
	segundos_brasil=segundos_unix-3600*3;

	x=(double)segundos_brasil/86400;//O número 86400 representa a quantidade de segundos em um dia
	xa=segundos_brasil/86400;//Divisão inteira retorna um inteiro
	horas=24*(x-xa);//a variavel horas representa a hora local no Brasil sem horario de verão

	y=(double)segundos_brasil/3600;//O número 3600 representa a quantidade de segundos em uma hora
	ya=segundos_brasil/3600;//Divisão inteira retorna um inteiro
	minutos=60*(y-ya);//a variavel minutos representa os minutos

	z=(double)segundos_brasil/60;//O número 60 representa a quantidade de segundos em um minuto
	za=segundos_brasil/60;//Divisão inteira retorna um inteiro
	segundos=60*(z-za);//a variavel segundos representa os segundos

	k=(double)(segundos_brasil+259200)/604800;//O número 604800 representa a quantidade de segundos em uma semana. Desloca-se 259200 s para que a semana comece em uma segunda-feira
	ka=(segundos_brasil+259200)/604800;
	dia_da_semana=7*(k-ka)+1;//a variavel dia_da_semana representa os dias da semana

	/*Verifica em qual dia, mês e ano estamos contando todos os dias desde 1970*/
	while(segundos_dos_dias<=segundos_brasil)
	{
		segundos_dos_dias=segundos_dos_dias+86400;

		dia_count++;
		/*if(Verifique se a contagem esta em 32, se estiver, "zere" o contador || Verifique se a contagem está em 31, se estiver, verifique se o mês possui 30, se tiver, "zere" o contador || Verifique se o contador está em 29 e se é fevereiro se não for ano bissexto "zere" o contador || verifique se é dia 30 de fevereiro se for então "zere" o contador*/
		if(dia_count==32 || (dia_count==31 && ((meses_count%2==0 && meses_count<=6)||(meses_count%2!=0 && meses_count>=9))) || (dia_count==29 && meses_count==2 && !( ( ano_count % 4 == 0 && ano_count % 100 != 0 ) || ano_count % 400 == 0 )) || (dia_count==30 && meses_count==2 ) )
		{
			meses_count++;
			dia_count=1;
			if(meses_count==13) //Virada do ano
			{
				ano_count++;
				ano_count_aux++;
				if(ano_count_aux==100)
					ano_count_aux=0;
				meses_count=1;
			}
		}
	}
	if(segundos_dos_dias==segundos_brasil) //sempre conta-se um dia a mais dentro do loop anterior
		dia=dia_count;
	else
	{
		if(dia_count==1)//Resolve o bug do dia 0 e do mês 0 (esse bug acontece por que os dias e meses são ciclicos e no começo de um novo não se consegue retroceder para o final do ciclo anterior resultando em um zero)
		{
			meses_count=meses_count-1;
			if(meses_count==0)
			{
				meses_count=12;
				ano_count=ano_count-1;
				if(ano_count_aux==0)//Resolve o bug do ano 95 quando deveria ser 99
					ano_count_aux=99;
				else
					ano_count_aux=ano_count_aux-1;
			}
			meses=meses_count;
			if(meses_count==2)
			{
				if( ( ( ano_count % 4 == 0 && ano_count % 100 != 0 ) || ano_count % 400 == 0 ))
					dia=29;
				else
					dia=28;
			}
			else
			{
				if(((meses_count%2==0 && meses_count<=6)||(meses_count%2!=0 && meses_count>=9)))
					dia=30;
				else if(((meses_count%2!=0 && meses_count<=7)||(meses_count%2==0 && meses_count>=8)))
					dia=31;
			}
		}
		else
		{
			dia=dia_count-1;
			meses=meses_count;
		}
	}
	anos4digitos=ano_count;
	anos=ano_count_aux;
	luna_sync(&segundos_brasil);
}

/*Esta função é chamada toda a vez que ocorre uma interrupção na uart configurando uma flag que desviará o fluxo do programa
 * principal*/
void HAL_UART_RxCpltCallback(UART_HandleTypeDef *huart)
{
	interrupcao=1;
}

/* USER CODE END 4 */

void _Error_Handler(char *file, int line)
{
  while(1)
  {
  }
}

/************************ (C) COPYRIGHT STMicroelectronics *****END OF FILE****/
